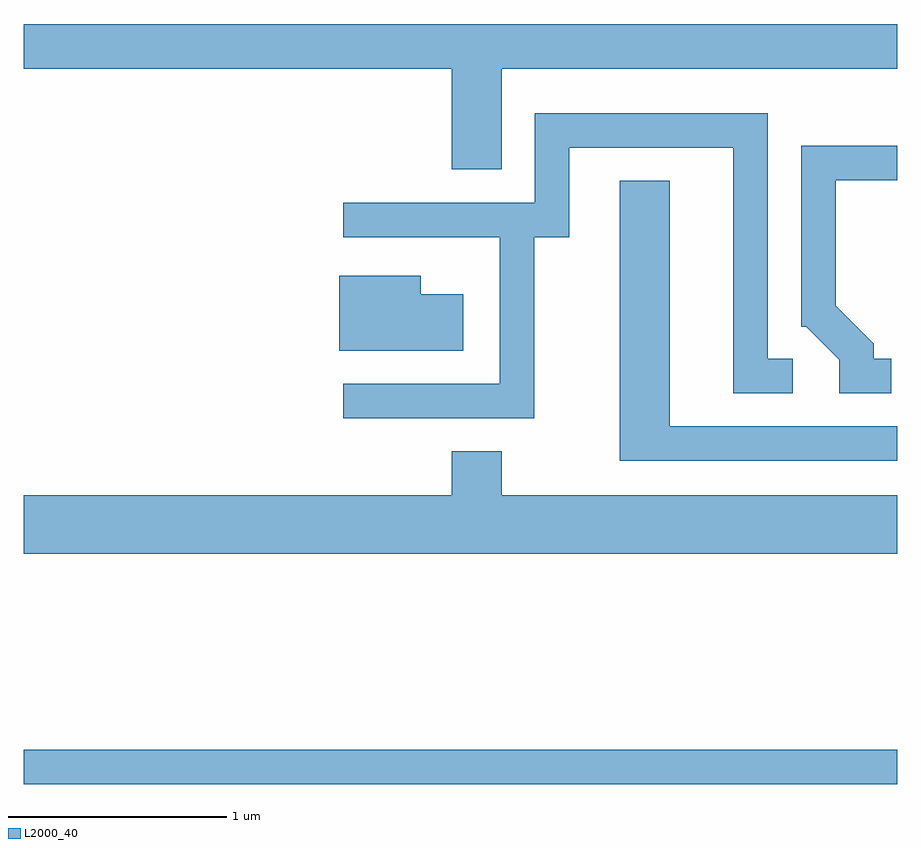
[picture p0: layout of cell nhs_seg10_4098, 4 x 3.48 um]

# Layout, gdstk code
import gdstk
lib = gdstk.Library(unit=1e-6, precision=1e-09)
def R(c, l, rs):  # rectangles x0, y0, x1, y1
    for r in rs: c.add(gdstk.rectangle(r[:2], r[2:], *l))
def P(c, l, *ps):  # polygons
    for p in ps: c.add(gdstk.Polygon(p, *l))
L2000_40 = (2000, 40)

nhs_seg10_4098 = lib.new_cell('nhs_seg10_4098')
R(nhs_seg10_4098, L2000_40, [(305.611,2155.041,309.611,2155.199)])
P(nhs_seg10_4098, L2000_40, [(307.799,2158.316),(309.611,2158.316),(309.611,2158.522),(305.611,2158.522),(305.611,2158.316),(307.571,2158.316),(307.571,2157.856),(307.799,2157.856)],
  [(307.949,2157.546),(308.109,2157.546),(308.109,2157.956),(308.861,2157.956),(308.861,2156.831),(309.133,2156.831),(309.133,2156.989),(309.019,2156.989),(309.019,2158.114),(307.951,2158.114),(307.951,2157.704),(307.073,2157.704),(307.073,2157.546),(307.791,2157.546),(307.791,2156.874),(307.073,2156.874),(307.073,2156.716),(307.949,2156.716)],
  [(309.583,2156.989),(309.504,2156.989),(309.504,2157.057),(309.329,2157.232),(309.329,2157.806),(309.611,2157.806),(309.611,2157.964),(309.171,2157.964),(309.171,2157.136),(309.194,2157.136),(309.346,2156.984),(309.346,2156.831),(309.583,2156.831)],
  [(309.611,2156.679),(308.569,2156.679),(308.569,2157.804),(308.341,2157.804),(308.341,2156.521),(309.611,2156.521)],
  [(307.624,2157.284),(307.429,2157.284),(307.429,2157.369),(307.056,2157.369),(307.056,2157.026),(307.624,2157.026)],
  [(309.611,2156.364),(307.799,2156.364),(307.799,2156.564),(307.571,2156.564),(307.571,2156.364),(305.611,2156.364),(305.611,2156.096),(309.611,2156.096)])

lib.write_gds('nhs_seg10_4098.gds')
